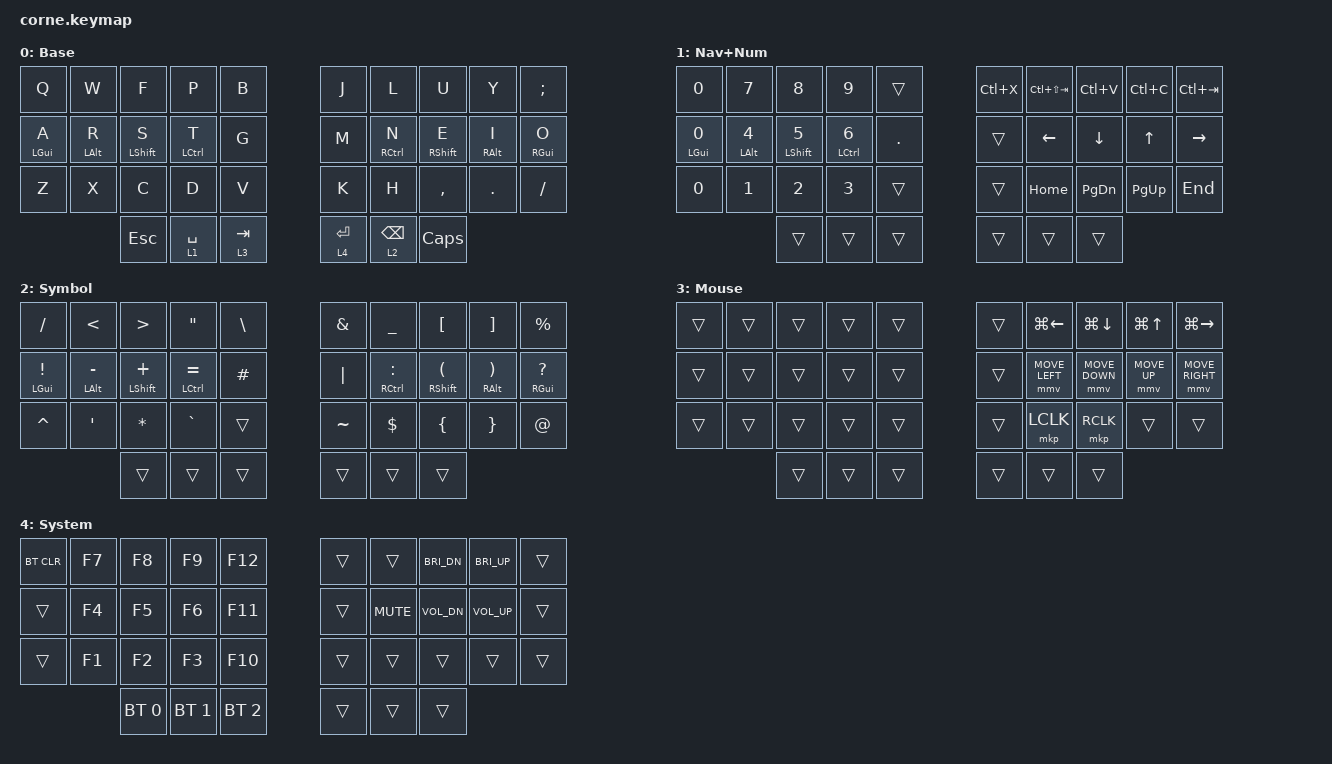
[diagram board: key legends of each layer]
/*
 * Copyright (c) 2020 The ZMK Contributors
 *
 * SPDX-License-Identifier: MIT
 */

#include <behaviors.dtsi>
#include <dt-bindings/zmk/keys.h>
#include <dt-bindings/zmk/bt.h>

// Include mouse and speed it up
#define ZMK_POINTING_DEFAULT_MOVE_VAL 1200 
#include <dt-bindings/zmk/pointing.h>

/ {
	// Tell ZMK we are using a 5-column corne
	chosen {
		zmk,physical-layout = &foostan_corne_5col_layout;
	};

	// Set up home row mods and layer toggles
	behaviors {
		hm: homerow_mods {
			compatible = "zmk,behavior-hold-tap";
			#binding-cells = <2>;
			tapping-term-ms = <200>;
			quick-tap-ms = <175>;
			require-prior-idle-ms = <150>;
			flavor = "balanced";
			bindings = <&kp>, <&kp>;
		};
		lt: layer_tap {
			compatible = "zmk,behavior-hold-tap";
			#binding-cells = <2>;
			tapping-term-ms = <200>;
			quick-tap-ms = <175>;
			flavor = "balanced";
			bindings = <&mo>, <&kp>;
		};
	};

	keymap {
		compatible = "zmk,keymap";

		base_layer {
			display-name = "Base";
			bindings = <
				&kp Q        &kp W        &kp F        &kp P         &kp B          &kp J        &kp L            &kp U         &kp Y         &kp SEMI
				&hm LGUI A   &hm LALT R   &hm LSHFT S  &hm LCTRL T   &kp G          &kp M        &hm RCTRL N      &hm RSHFT E   &hm RALT I    &hm RGUI O
				&kp Z        &kp X        &kp C        &kp D         &kp V          &kp K        &kp H            &kp COMMA     &kp DOT       &kp FSLH
				                          &kp ESC      &lt 1 SPACE   &lt 3 TAB      &lt 4 ENTER  &lt 2 BACKSPACE  &kp CAPS
			>;
		};

		nav_num_layer {
			display-name = "Nav+Num";
			bindings = <
				&kp N0       &kp N7       &kp N8       &kp N9        &trans         &kp LC(X)    &kp LC(LS(TAB))  &kp LC(V)     &kp LC(C)     &kp LC(TAB)
				&hm LGUI N0  &hm LALT N4  &hm LSHFT N5 &hm LCTRL N6  &kp DOT        &trans       &kp LEFT         &kp DOWN      &kp UP        &kp RIGHT
				&kp N0       &kp N1       &kp N2       &kp N3        &trans         &trans       &kp HOME         &kp PG_DN     &kp PG_UP     &kp END
				                          &trans       &trans        &trans         &trans       &trans           &trans
			>;
		};

		symbol_layer {
			display-name = "Symbol";
			bindings = <
				&kp FSLH      &kp LT           &kp GT          &kp DQT          &kp BSLH       &kp AMPS     &kp UNDERSCORE   &kp LBKT       &kp RBKT       &kp PRCNT
				&hm LGUI EXCL &hm LALT MINUS   &hm LSHFT PLUS  &hm LCTRL EQUAL  &kp HASH       &kp PIPE     &hm RCTRL COLON  &hm RSHFT LPAR &hm RALT RPAR  &hm RGUI QMARK
				&kp CARET     &kp SQT          &kp STAR        &kp GRAVE        &trans         &kp TILDE    &kp DLLR         &kp LBRC       &kp RBRC       &kp AT
				                               &trans          &trans           &trans         &trans       &trans           &trans
			>;
		};

        mouse_layer {
            display-name = "Mouse";
            bindings = <
                &trans  &trans  &trans  &trans  &trans      &trans  &kp LG(LEFT)     &kp LG(DOWN)     &kp LG(UP)     &kp LG(RIGHT)
                &trans  &trans  &trans  &trans  &trans      &trans  &mmv MOVE_LEFT   &mmv MOVE_DOWN   &mmv MOVE_UP   &mmv MOVE_RIGHT
                &trans  &trans  &trans  &trans  &trans      &trans  &mkp LCLK        &mkp RCLK        &trans         &trans
                                &trans  &trans  &trans      &trans  &trans           &trans
            >;
        };

		system_layer {
			display-name = "System";
			bindings = <
				&bt BT_CLR  &kp F7        &kp F8        &kp F9        &kp F12         &trans  &trans      &kp C_BRI_DN  &kp C_BRI_UP  &trans
				&trans      &kp F4        &kp F5        &kp F6        &kp F11         &trans  &kp C_MUTE  &kp C_VOL_DN  &kp C_VOL_UP  &trans
				&trans      &kp F1        &kp F2        &kp F3        &kp F10         &trans  &trans      &trans        &trans        &trans
				            &bt BT_SEL 0  &bt BT_SEL 1  &bt BT_SEL 2                  &trans  &trans      &trans
			>;
		};
	};
};
